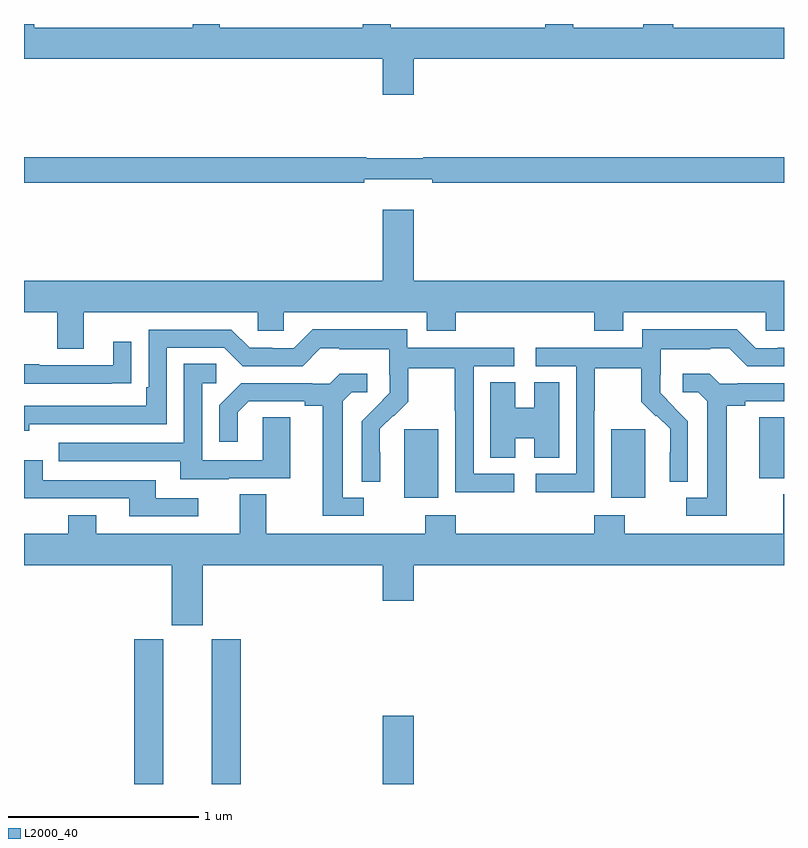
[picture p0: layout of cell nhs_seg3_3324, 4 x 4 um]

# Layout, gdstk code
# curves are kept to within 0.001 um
import gdstk
lib = gdstk.Library(unit=1e-6, precision=1e-09)
def R(c, l, rs):  # rectangles x0, y0, x1, y1
    for r in rs: c.add(gdstk.rectangle(r[:2], r[2:], *l))
def P(c, l, *ps):  # polygons
    for p in ps: c.add(gdstk.Polygon(p, *l))
L2000_40 = (2000, 40)

nhs_seg3_3324 = lib.new_cell('nhs_seg3_3324')
R(nhs_seg3_3324, L2000_40, [(283.58,730.4,283.732,731.163), (283.988,730.4,284.141,731.163), (284.888,730.4,285.052,730.759), (285.002,731.906,285.181,732.267), (286.091,731.906,286.27,732.267), (286.871,732.009,287,732.329)])
P(nhs_seg3_3324, L2000_40, [(285.052,734.216),(287,734.216),(287,734.38),(286.418,734.38),(286.418,734.4),(286.258,734.4),(286.258,734.38),(285.891,734.38),(285.891,734.4),(285.744,734.4),(285.744,734.38),(284.931,734.38),(284.931,734.4),(284.783,734.4),(284.783,734.38),(284.029,734.38),(284.029,734.4),(283.889,734.4),(283.889,734.38),(283.053,734.38),(283.053,734.4),(283,734.4),(283,734.216),(284.888,734.216),(284.888,734.028),(285.052,734.028)],
  [(284.792,733.583),(285.148,733.583),(285.148,733.564),(287,733.564),(287,733.7),(285.1,733.7),(285.1,733.693),(284.8,733.693),(284.8,733.7),(283,733.7),(283,733.564),(284.792,733.564)],
  [(283.315,732.884),(284.229,732.884),(284.229,732.786),(284.367,732.786),(284.367,732.884),(285.119,732.884),(285.119,732.785),(285.272,732.785),(285.272,732.884),(286.001,732.884),(286.001,732.785),(286.153,732.785),(286.153,732.884),(286.905,732.884),(286.905,732.786),(287,732.786),(287,733.048),(285.052,733.048),(285.052,733.423),(284.888,733.423),(284.888,733.048),(283,733.048),(283,732.884),(283.175,732.884),(283.175,732.69),(283.315,732.69)],
  [(285.58,732.033),(285.366,732.033),(285.366,732.6),(285.58,732.6),(285.58,732.696),(285.018,732.696),(285.018,732.793),(284.521,732.793),(284.421,732.693),(284.306,732.693),(284.306,732.696),(284.187,732.696),(284.091,732.792),(283.656,732.792),(283.656,732.487),(283.643,732.487),(283.643,732.39),(283,732.39),(283,732.26),(283.028,732.26),(283.028,732.294),(283.752,732.294),(283.752,732.696),(284.055,732.696),(284.151,732.6),(284.466,732.6),(284.559,732.693),(284.659,732.693),(284.659,732.689),(284.922,732.689),(284.922,732.555),(284.924,732.555),(284.924,732.458),(284.778,732.31),(284.778,731.992),(284.874,731.992),(284.873,732.269),(284.943,732.339),(284.946,732.336),(285.023,732.413),(285.023,732.588),(285.268,732.588),(285.268,732.364),(285.27,732.364),(285.27,731.935),(285.58,731.935)],
  [(286.002,732.364),(286.005,732.364),(286.005,732.588),(286.249,732.588),(286.249,732.413),(286.326,732.336),(286.329,732.339),(286.4,732.269),(286.4,732.146),(286.398,732.146),(286.398,731.992),(286.494,731.992),(286.494,732.31),(286.348,732.458),(286.348,732.555),(286.35,732.555),(286.35,732.689),(286.613,732.689),(286.613,732.693),(286.713,732.693),(286.806,732.6),(287,732.6),(287,732.696),(286.967,732.696),(286.967,732.693),(286.851,732.693),(286.751,732.793),(286.254,732.793),(286.254,732.696),(285.693,732.696),(285.693,732.6),(285.906,732.6),(285.906,732.033),(285.693,732.033),(285.693,731.935),(286.002,731.935)],
  [(283.463,732.508),(283.565,732.508),(283.565,732.727),(283.469,732.727),(283.469,732.603),(283.079,732.603),(283.079,732.608),(283,732.608),(283,732.507),(283.463,732.507)],
  [(284.077,732.009),(284.401,732.009),(284.401,732.329),(284.256,732.329),(284.256,732.105),(283.938,732.105),(283.938,732.51),(284.011,732.51),(284.011,732.611),(283.842,732.611),(283.842,732.195),(283.183,732.195),(283.183,732.099),(283.823,732.099),(283.823,732.005),(284.077,732.005)],
  [(284.788,731.907),(284.677,731.907),(284.677,732.415),(284.724,732.462),(284.806,732.462),(284.806,732.559),(284.662,732.559),(284.61,732.507),(284.516,732.507),(284.516,732.51),(284.144,732.51),(284.028,732.394),(284.028,732.201),(284.125,732.201),(284.125,732.357),(284.182,732.414),(284.477,732.414),(284.477,732.392),(284.573,732.392),(284.573,731.811),(284.788,731.811)],
  [(286.699,732.392),(286.795,732.392),(286.795,732.414),(287,732.414),(287,732.51),(286.756,732.51),(286.756,732.507),(286.662,732.507),(286.61,732.559),(286.467,732.559),(286.467,732.462),(286.548,732.462),(286.595,732.415),(286.595,731.907),(286.485,731.907),(286.485,731.811),(286.699,731.811)],
  [(285.586,732.221),(285.686,732.221),(285.686,732.118),(285.817,732.118),(285.817,732.515),(285.686,732.515),(285.686,732.379),(285.586,732.379),(285.586,732.515),(285.455,732.515),(285.455,732.118),(285.586,732.118)],
  [(283.918,731.904),(283.693,731.904),(283.693,732),(283.098,732),(283.098,732.103),(283,732.103),(283,732.006),(283.002,732.006),(283.002,731.904),(283.553,731.904),(283.553,731.808),(283.918,731.808)],
  [(283.942,731.552),(284.888,731.552),(284.888,731.364),(285.052,731.364),(285.052,731.552),(287,731.552),(287,731.924),(286.997,731.924),(286.997,731.716),(286.161,731.716),(286.161,731.815),(286.001,731.815),(286.001,731.716),(285.272,731.716),(285.272,731.815),(285.112,731.815),(285.112,731.716),(284.275,731.716),(284.275,731.924),(284.135,731.924),(284.135,731.716),(283.381,731.716),(283.381,731.815),(283.234,731.815),(283.234,731.716),(283,731.716),(283,731.552),(283.778,731.552),(283.778,731.235),(283.942,731.235)])

lib.write_gds('nhs_seg3_3324.gds')
